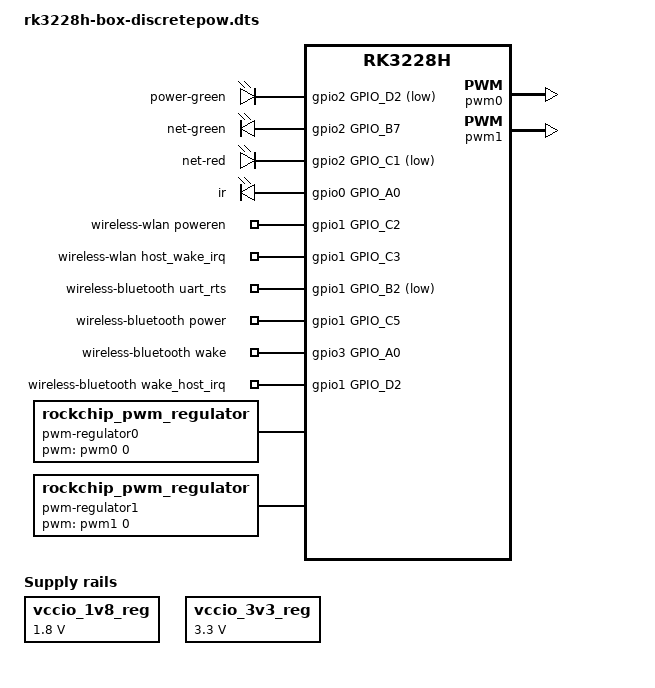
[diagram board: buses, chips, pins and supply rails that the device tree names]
/*
 * Copyright (c) 2017 Fuzhou Rockchip Electronics Co., Ltd
 *
 * SPDX-License-Identifier: (GPL-2.0+ OR MIT)
 */

/dts-v1/;

#include "rk3228h.dtsi"
#include "rk322xh-evb.dtsi"
#include "rk-stb-keymap.dtsi"

/ {
	leds {
		compatible = "gpio-leds";

		power-green {
			gpios = <&gpio2 GPIO_D2 GPIO_ACTIVE_LOW>;
			linux,default-trigger = "none";
			default-state = "on";
			mode = <0x23>;
		};

		net-green {
			gpios = <&gpio2 GPIO_B7 GPIO_ACTIVE_HIGH>;
			linux,default-trigger = "none";
			default-state = "off";
			mode = <0x05>;
		};

		net-red {
			gpios = <&gpio2 GPIO_C1 GPIO_ACTIVE_LOW>;
			linux,default-trigger = "none";
			default-state = "on";
			mode = <0x05>;
		};

		ir {
			gpios = <&gpio0 GPIO_A0 GPIO_ACTIVE_HIGH>;
			linux,default-trigger = "ir";
			default-state = "off";
			mode = <0x00>;
		};
	};

	i2s1 {
		i2s1-mclk {
			rockchip,pins =
				<2 GPIO_B7 RK_FUNC_GPIO &pcfg_pull_none>;
		};

		i2s1-lrcktx {
			rockchip,pins =
				<2 GPIO_C1 RK_FUNC_GPIO &pcfg_pull_none>;
		};
	};

	rockchip_clocks_init: clocks-init {
		rockchip,clocks-init-rate =
			<&clk_gpll 1440000000>, <&clk_core 600000000>,
			<&clk_cpll 1200000000>, <&aclk_bus 150000000>,
			<&hclk_bus 75000000>, <&pclk_bus 75000000>,
			<&clk_crypto 150000000>, <&aclk_peri 150000000>,
			<&hclk_peri 75000000>, <&pclk_peri 75000000>,
			<&aclk_vio 300000000>, <&hclk_vio 100000000>,
			<&aclk_rga 300000000>, <&clk_rga 200000000>,
			<&aclk_vop 400000000>, <&aclk_rkvdec 500000000>,
			<&aclk_rkvenc 200000000>, <&aclk_vpu 300000000>,
			<&clk_vdec_cabac 300000000>, <&clk_vdec_core 200000000>,
			<&clk_venc_core 200000000>, <&clk_venc_dsp 100000000>,
			<&clk_efuse 24000000>, <&aclk_gmac 150000000>,
			<&pclk_ddr 100000000>, /*<&clk_rtc32k 32768>,*/
			<&clk_pdm 61440000>, <&pclk_gmac 50000000>,
			<&clk_usb3otg0_s 32768>;
			/*rockchip,clocks-uboot-has-init =
			<&dclk_vop>, <&dclk_vop_pll>;*/
			rockchip,set_div_for_pll_init;
	};

	regulators {
		compatible = "simple-bus";
		#address-cells = <1>;
		#size-cells = <0>;

		vccio_1v8_reg: regulator@0 {
			compatible = "regulator-fixed";
			regulator-name = "vccio_1v8";
			regulator-min-microvolt = <1800000>;
			regulator-max-microvolt = <1800000>;
			regulator-always-on;
		};

		vccio_3v3_reg: regulator@1 {
			compatible = "regulator-fixed";
			regulator-name = "vccio_3v3";
			regulator-min-microvolt = <3300000>;
			regulator-max-microvolt = <3300000>;
			regulator-always-on;
		};
	};

	fiq-debugger {
		 rockchip,irq-mode-enable = <1>;
		 status = "okay";
	};

	wireless-wlan {
		compatible = "wlan-platdata";
		wifi_chip_type = "rtl8822bs";
		sdio_vref = <1800>;
		WIFI,poweren_gpio = <&gpio1 GPIO_C2 GPIO_ACTIVE_HIGH>;
		WIFI,host_wake_irq = <&gpio1 GPIO_C3 GPIO_ACTIVE_HIGH>;
		status = "okay";
	};

	wireless-bluetooth {
		compatible = "bluetooth-platdata";
		uart_rts_gpios = <&gpio1 GPIO_B2 GPIO_ACTIVE_LOW>;
		pinctrl-names = "default", "rts_gpio";
		pinctrl-0 = <&uart0_rts>;
		pinctrl-1 = <&uart0_rts_gpio>;
		BT,power_gpio = <&gpio1 GPIO_C5 GPIO_ACTIVE_HIGH>;
		BT,wake_gpio = <&gpio3 GPIO_A0 GPIO_ACTIVE_HIGH>;
		BT,wake_host_irq = <&gpio1 GPIO_D2 GPIO_ACTIVE_HIGH>;
		status = "okay";
	};

	gpio_poweroff {
		status = "disabled";
	};

	pwm-regulator0  {
		compatible = "rockchip_pwm_regulator";
		pwms = <&pwm0 0 2000 0>;
		rockchip,pwm_id= <0>;
		rockchip,pwm_voltage_map= <950000 975000 1000000 1025000 1050000 1075000 1100000 1125000 1150000 1175000 1200000 1225000 1250000 1275000 1300000 1325000 1350000 1375000 1400000>;
		rockchip,pwm_voltage= <1225000>;
		rockchip,pwm_min_voltage= <950000>;
		rockchip,pwm_max_voltage= <1400000>;
		rockchip,pwm_suspend_voltage= <950000>;
		rockchip,pwm_coefficient= <450>;
		status = "okay";
		regulators {
			#address-cells = <1>;
			#size-cells = <0>;
			pwm_reg0: regulator@0 {
				regulator-compatible = "pwm_dcdc1";
				regulator-name= "vdd_arm";
				regulator-min-microvolt = <950000>;
				regulator-max-microvolt = <1400000>;
				regulator-always-on;
				regulator-boot-on;
			};
		};
	};

	pwm-regulator1 {
		compatible = "rockchip_pwm_regulator";
		pwms = <&pwm1 0 25000 0>;
		rockchip,pwm_id= <1>;
		rockchip,pwm_voltage_map= <1000000 1025000 1050000 1075000 1100000 1125000 1150000 1175000 1200000 1225000 1250000 1275000 1300000>;
		rockchip,pwm_voltage= <1050000>;
		rockchip,pwm_min_voltage= <1000000>;
		rockchip,pwm_max_voltage= <1300000>;
		rockchip,pwm_suspend_voltage= <1250000>;
		rockchip,pwm_coefficient= <400>;
		status = "okay";
		regulators {
			#address-cells = <1>;
			#size-cells = <0>;
			pwm_reg1: regulator@1 {
				regulator-compatible = "pwm_dcdc2";
				regulator-name= "vdd_logic";
				regulator-min-microvolt = <1000000>;
				regulator-max-microvolt = <1300000>;
				regulator-always-on;
				regulator-boot-on;
			};
		};
	};

	io_domains {
		status = "okay";
		vccio1-supply = <&vccio_3v3_reg>;
		vccio2-supply = <&vccio_1v8_reg>;
		vccio3-supply = <&vccio_3v3_reg>;
		vccio4-supply = <&vccio_1v8_reg>;
		vccio5-supply = <&vccio_3v3_reg>;
		vccio6-supply = <&vccio_3v3_reg>;
		pmuio-supply = <&vccio_3v3_reg>;
	};
};

&sdio {
	clock-frequency = <180000000>;
	clock-freq-min-max = <200000 180000000>;
};

&u3phy {
	usb30-drv-gpio = <>;
 };

&i2c1 {
	status = "disabled";
};

&i2c0 {
	status = "disabled";
};

&pwm0 {
	status = "okay";
};

&pwm1 {
	status = "okay";
};

&cif {
	status = "disabled";
};

&rk3228_cif_sensor {
	status = "disabled";
};

&clk_core_dvfs_table {
	operating-points = <
		/* KHz    uV */
		408000 975000
		600000 975000
		816000 1025000
		1008000 1125000
		1200000 1250000
		1296000 1325000
		1392000 1375000
		1512000 1375000
		1608000 1375000
		1800000 1375000
		2016000 1375000
		>;
	status = "okay";
};

&clk_ddr_dvfs_table {
	operating-points = <
		/* KHz    uV */
		400000 900000
		600000 1050000
		786000 1100000
		800000 1125000
		933000 1125000
		>;

	freq-table = <
		/*status		freq(KHz)*/
		SYS_STATUS_NORMAL	933000
		SYS_STATUS_SUSPEND	933000
		SYS_STATUS_VIDEO_1080P  933000
		SYS_STATUS_VIDEO_4K     933000
		SYS_STATUS_PERFORMANCE  933000
		SYS_STATUS_DUALVIEW	933000
		SYS_STATUS_BOOST	933000
		SYS_STATUS_ISP		933000
		>;
	auto-freq-table = <
		933000
		933000
		>;
	auto-freq = <0>;
	status = "okay";
};

&clk_gpu_dvfs_table {
	operating-points = <
		/* KHz    uV */
		200000 900000
		300000 950000
		400000 1025000
		500000 1100000
		>;
	status = "okay";
};
